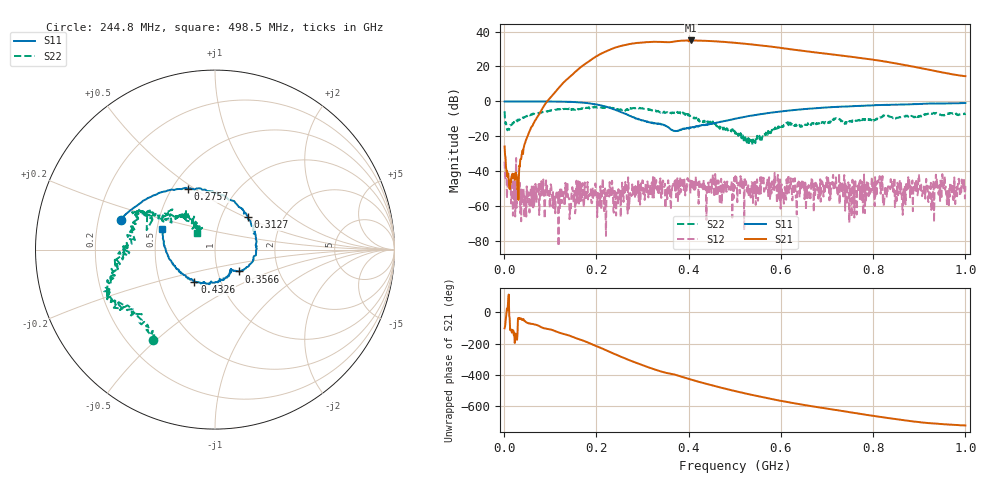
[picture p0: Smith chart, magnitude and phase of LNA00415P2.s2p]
! Created with skrf 1.9.0 (http://scikit-rf.org).
# Hz S RI R 50.0
!freq ReS11 ImS11 ReS21 ImS21 ReS12 ImS12 ReS22 ImS22
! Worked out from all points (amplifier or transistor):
!   1001 points, 1 MHz to 1 GHz, reference 50 ohm
!   highest |S21| = 34.9 dB at 404.6 MHz (marker M1)
!   |S21| within 3 dB of that: 255.7 MHz to 561.1 MHz (305.5 MHz wide, 74.8 % of centre)
!   unconditionally stable (mu >= 1): 9.541 MHz to 57.85 MHz; 192.2 MHz to 213.2 MHz; 234.8 MHz to end of sweep (the widest 3 of 33)
!   at 166.8 MHz: K = 0.70, MSG = 33.0 dB, |S12| = -46.2 dB
!   at 500.5 MHz: K = 1.51, MAG = 34.3 dB, |S12| = -43.5 dB
!   at 1 GHz: K = 3.48, MAG = 23.2 dB, |S12| = -48.5 dB
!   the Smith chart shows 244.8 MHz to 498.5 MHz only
!   S11 on the Smith chart (normalised r, x): 244.8 MHz: 0.30, +0.14; 275.7 MHz: 0.60, +0.47; 312.7 MHz: 1.33, +0.52; 356.6 MHz: 1.26, -0.32; 432.6 MHz: 0.75, -0.29; 498.5 MHz: 0.53, +0.14
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1000000  0.9978 0.00225  -0.0105 -0.0507  -0.0153 0.0116  0.3749 0.3696
1.08892e8  0.5233 -0.8449  -0.8193 -1.534  -0.000228 -0.00208  0.4218 -0.3647
1.67833e8  -0.225 -0.9026  -9.977 -0.5091  -0.00143 0.000287  0.0274 -0.631
2.09791e8  -0.6665 -0.3866  -15.52 17.07  0.000462 -0.00112  -0.2123 -0.6438
2.26774e8  -0.6614 -0.0993  -10.03 27.53  -0.00137 -0.0027  -0.2898 -0.5994
2.44756e8  -0.5259 0.1649  1.751 36.08  -0.00116 -0.00216  -0.345 -0.5049
2.75725e8  -0.1492 0.3386  29.24 33.84  -0.000755 -0.00197  -0.5593 -0.2829
3.12688e8  0.1811 0.1832  49.26 7.617  0.000622 0.00169  -0.5572 -0.1434
3.34666e8  0.2326 0.00467  49.51 -11.19  -0.00211 0.00356  -0.5091 -0.0141
3.56644e8  0.1338 -0.1214  42.82 -24.61  -0.00147 0.00354  -0.446 0.0534
3.77623e8  0.0874 -0.1182  38.26 -37.56  0.000429 0.00299  -0.4334 0.1938
4.04596e8  0.0171 -0.1823  19.92 -51.84  0.000622 0.0054  -0.3094 0.1904
4.32568e8  -0.1145 -0.1819  -2.095 -54.28  -0.00468 0.00327  -0.1667 0.191
4.65535e8  -0.2468 -0.0602  -24.06 -45.81  0.00325 -0.00112  -0.1004 0.1471
4.98502e8  -0.2926 0.1163  -37.39 -29.96  0.00629 -0.00193  -0.0979 0.0936
5.005e8  -0.2967 0.1263  -38.08 -28.93  0.00544 0.00388  -0.0812 0.0898
5.39461e8  -0.2294 0.3289  -41.52 -8.335  0.00124 0.000118  -0.0795 -0.0183
5.84416e8  -0.0481 0.4848  -34.89 10.07  -0.000904 -0.00551  -0.1496 -0.0571
6.67333e8  0.3389 0.5297  -12.98 22.32  2.6e-05 -0.00327  -0.2363 -0.0259
7.53247e8  0.635 0.3647  3.092 18.61  0.000134 0.000487  -0.2799 0.0216
8.34166e8  0.7899 0.1236  9.463 9.312  -0.00229 -0.00207  -0.3682 0.0324
1e9  0.8023 -0.4093  5.278 -0.2022  0.000978 0.00362  -0.2823 0.3452
